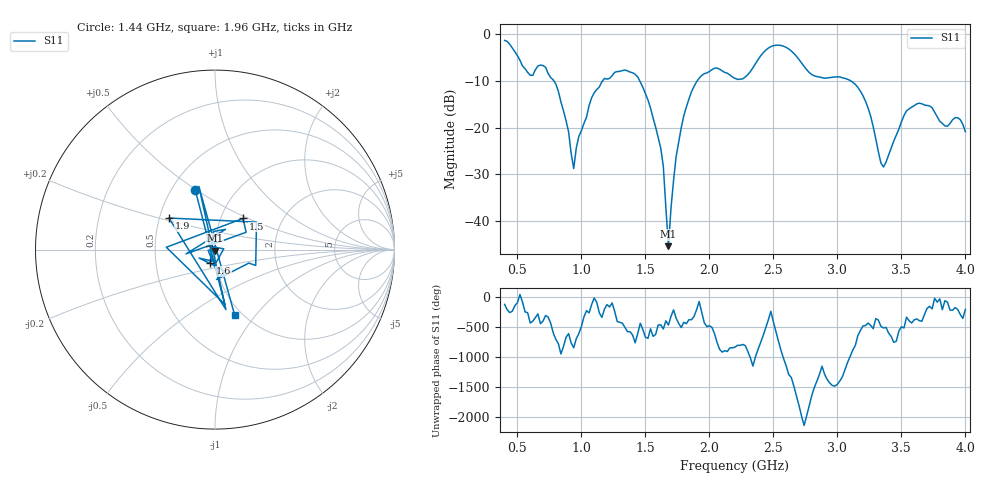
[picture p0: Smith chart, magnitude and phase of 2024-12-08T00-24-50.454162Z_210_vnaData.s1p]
!Created with skrf (http://scikit-rf.org).
# Hz S RI R 50.0
!freq ReS11 ImS11
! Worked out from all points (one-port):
!   181 points, 400 MHz to 4 GHz, reference 50 ohm
!   lowest |S11| = -45.4 dB at 1.68 GHz (marker M1), VSWR 1.01, Z = 49.8 - j0.507 ohm
!   |S11| at or under -10 dB: 786 MHz to 1.164 GHz (377.8 MHz wide, 38.8 % of centre); 1.457 GHz to 1.904 GHz (447 MHz wide, 26.6 % of centre); 3.107 GHz to end of sweep
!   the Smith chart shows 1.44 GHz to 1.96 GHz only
!   S11 on the Smith chart (normalised r, x): 1.44 GHz: 0.65, +0.50; 1.5 GHz: 1.27, +0.47; 1.6 GHz: 0.94, -0.14; 1.9 GHz: 0.56, +0.22; 1.96 GHz: 0.92, -0.79
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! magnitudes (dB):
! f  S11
! 400 MHz  -1.3
! 600 MHz  -8.7
! 720 MHz  -7.0
! 860 MHz  -16.4
! 940 MHz  -28.7
! 980 MHz  -21.8
! 1.08 GHz  -13.5
! 1.3 GHz  -7.9
! 1.44 GHz  -9.1
! 1.5 GHz  -12.6
! 1.6 GHz  -22.1
! 1.64 GHz  -28.3
! 1.68 GHz  -45.4
! 1.72 GHz  -31.3
! 1.76 GHz  -23.1
! 1.82 GHz  -15.5
! 1.9 GHz  -10.1
! 1.96 GHz  -8.4
! 2.2 GHz  -9.4
! 2.48 GHz  -2.6
! 2.66 GHz  -4.1
! 2.82 GHz  -8.9
! 3.1 GHz  -9.9
! 3.22 GHz  -14.3
! 3.36 GHz  -28.4
! 3.56 GHz  -16.0
! 3.72 GHz  -15.3
! 4 GHz  -20.8
